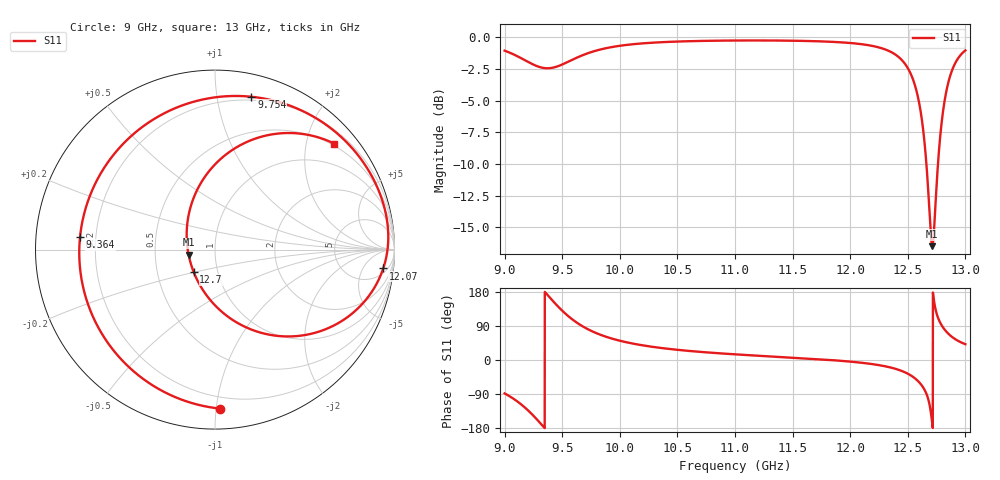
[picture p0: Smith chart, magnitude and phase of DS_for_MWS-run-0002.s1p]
! TOUCHSTONE file generated by CST DESIGN STUDIO
! Date and time: Wed Feb  5 13:27:43 2025
! Project name: C:\Work\MatlabApps\UnitCellOptimizationMatlab\CST\unitcell.cst
! Tree item: Tasks\Sweep1\SPara1\S-Parameters
! Header version: 2024
! Port assignment regex: !\s*Touchstone port\s*([0-9]+)\s*=\s*(CST MWS port|CST DES external port|CST DES block port)\s*(.+)\s* \(\"(.*)\"\)(\s*mode\s*([0-9]+))?.*
! Touchstone port assignment:
! Touchstone port 1 = CST DES external port 1 ("")
# GHz S MA R 50
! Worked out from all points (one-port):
!   4001 points, 9 GHz to 13 GHz, reference 50 ohm
!   lowest |S11| = -16.5 dB at 12.71 GHz (marker M1), VSWR 1.35, Z = 37.1 - j2.14 ohm
!   |S11| at or under -10 dB: 12.66 GHz to 12.76 GHz (100.4 MHz wide, 0.79 % of centre)
!   S11 on the Smith chart (normalised r, x): 9 GHz: 0.12, -1.02; 9.364 GHz: 0.14, +0.05; 9.754 GHz: 0.17, +1.25; 12.07 GHz: 7, -14; 12.7 GHz: 0.77, -0.20; 13 GHz: 0.46, +2.56
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9  0.8863 -88.2
9.095  0.8495 -105.9
9.179  0.8115 -126.2
9.28  0.7703 -156.7
9.364  0.7553 174.6
9.427  0.7607 153.0
9.5  0.7815 130.2
9.614  0.8266 101.3
9.754  0.8755 76.6
9.87  0.9043 62.4
10  0.9265 50.9
10.216  0.9484 37.8
10.5  0.9629 26.9
11  0.972 15.0
11.5  0.9702 6.2
12  0.9503 -4.2
12.072  0.9433 -6.4
12.339  0.8827 -18.9
12.5  0.7563 -36.1
12.614  0.5017 -64.2
12.653  0.3524 -83.1
12.698  0.1721 -133.8
12.713  0.1498 -169.2
12.729  0.1768 153.3
12.764  0.326 110.0
12.834  0.6108 75.1
12.919  0.8025 53.6
13  0.8885 41.7
